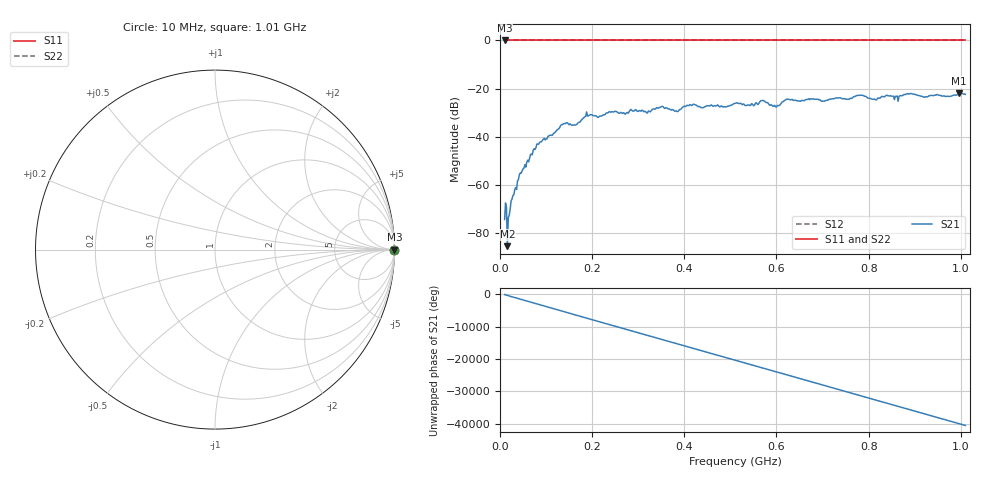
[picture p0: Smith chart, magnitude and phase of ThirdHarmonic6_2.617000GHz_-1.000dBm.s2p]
! 8/17/2025 5:46:08 AM
! C:\ANRITSUVNA\TEMP\TEMP.S2P
! CHANNEL.1
! TR.MEASUREMENT
! RAW.DATA
! RF.CORRECTION.OFF
! AVERAGING.OFF
! IF.BANDWIDTH: 5KHZ
! SWEEPTYPE:  FREQ.SWEEP(Linear)
! Reference Plane Port Info
! PORT:  PORT1  PORT2
! DISTANCE:  0  m  0  m
! TIME:  0  s  0  s
! PHASE.OFFSET:  0  deg.  0  deg.
! LOSS:  0  dB  0  dB
! REF.LOSS:  0  dB  0  dB
! REF.FREQ:  0  Hz  0  Hz
! Power Info
! POWER:  -20  dBm  -20  dBm
! EFF.POWER:  -20  dBm  -20  dBm
! SOURCE.ATTEN:  0  dB  0  dB
! TEST.ATTEN:  0  dB  0  dB
# GHZ S RI R 50.0
! FREQ.GHZ  S11RE  S11IM  S21RE  S21IM  S12RE  S12IM  S22RE  S22IM
!; PortSelection: Port_12
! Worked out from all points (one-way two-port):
!   501 points, 10 MHz to 1.01 GHz, reference 50 ohm
!   highest |S21| = -21.91 dB at 996 MHz (marker M1); lowest = -85.5 dB at 16 MHz (marker M2)
!   lowest |S11| = 0.0 dB at 10 MHz (marker M3)
!   |S11| at or under -10 dB: nowhere
!   |S22| runs from 0.0 to 0.0 dB; largest |S21 - S12| = 1.1
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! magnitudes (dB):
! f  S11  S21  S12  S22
! 10 MHz  0.0  -74.4  0.0  0.0
! 16 MHz  0.0  -85.5  0.0  0.0
! 20 MHz  0.0  -72.7  0.0  0.0
! 28 MHz  0.0  -64.5  0.0  0.0
! 42 MHz  0.0  -55.8  0.0  0.0
! 84 MHz  0.0  -43.1  0.0  0.0
! 136 MHz  0.0  -35.0  0.0  0.0
! 162 MHz  0.0  -35.1  0.0  0.0
! 178 MHz  0.0  -32.9  0.0  0.0
! 192 MHz  0.0  -31.3  0.0  0.0
! 322 MHz  0.0  -29.4  0.0  0.0
! 344 MHz  0.0  -28.2  0.0  0.0
! 384 MHz  0.0  -29.5  0.0  0.0
! 410 MHz  0.0  -27.1  0.0  0.0
! 510 MHz  0.0  -26.2  0.0  0.0
! 570 MHz  0.0  -24.9  0.0  0.0
! 596 MHz  0.0  -27.0  0.0  0.0
! 622 MHz  0.0  -24.4  0.0  0.0
! 678 MHz  0.0  -24.4  0.0  0.0
! 844 MHz  0.0  -23.1  0.0  0.0
! 996 MHz  0.0  -21.9  0.0  0.0
! 1.01 GHz  0.0  -22.4  0.0  0.0
